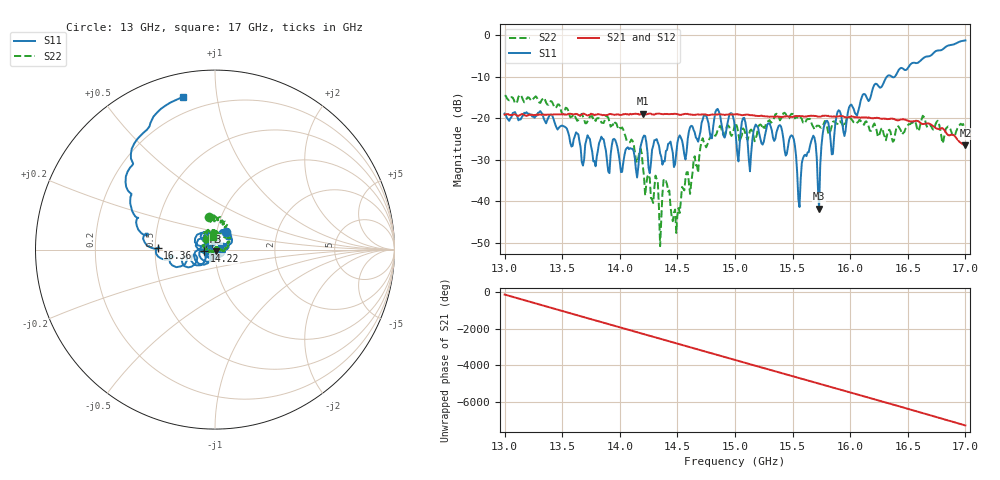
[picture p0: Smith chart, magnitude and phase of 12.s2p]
!Keysight Technologies,P9374A,MY57211807,A.19.30.04
!Date: Friday, May 01, 2026 14:43:52
!Correction: S11(C  2-Port  )
!S21(C  2-Port  )
!S12(C  2-Port  )
!S22(C  2-Port  )
!S2P File: Measurements: S11, S21, S12, S22:
# Hz S  RI  R 50
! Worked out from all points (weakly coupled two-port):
!   401 points, 13 GHz to 17 GHz, reference 50 ohm
!   highest |S21| = -18.84 dB at 14.2 GHz (marker M1); lowest = -26.5 dB at 17 GHz (marker M2)
!   lowest |S11| = -41.8 dB at 15.73 GHz (marker M3), VSWR 1.02, Z = 50.3 - j0.748 ohm
!   |S11| at or under -10 dB: start of sweep to 16.32 GHz; 16.36478 GHz to 16.38488 GHz (20.1 MHz wide, 0.123 % of centre)
!   |S22| runs from -50.8 to -14.4 dB; largest |S21 - S12| = 0.0035
!   S11 on the Smith chart (normalised r, x): 13 GHz: 1.10, +0.22; 14.22 GHz: 0.89, -0.01; 16.36 GHz: 0.52, +0.01; 17 GHz: 0.12, +0.80
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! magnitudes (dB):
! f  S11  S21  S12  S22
! 13 GHz  -18.8  -19.1  -19.1  -14.6
! 13.67 GHz  -30.6  -19.1  -19.0  -18.9
! 14.15 GHz  -34.3  -19.0  -18.9  -30.7
! 14.2 GHz  -24.7  -18.8  -18.8  -31.5
! 14.22 GHz  -24.3  -19.0  -19.0  -38.6
! 14.34 GHz  -26.6  -18.9  -18.8  -41.7
! 14.4 GHz  -27.9  -19.0  -19.0  -35.1
! 14.48 GHz  -31.1  -18.9  -18.9  -42.0
! 14.72 GHz  -20.3  -19.0  -19.0  -24.8
! 15 GHz  -22.2  -19.0  -19.0  -21.1
! 15.08 GHz  -19.9  -19.2  -19.2  -22.8
! 15.13 GHz  -32.8  -19.2  -19.2  -23.0
! 15.39 GHz  -21.6  -19.6  -19.6  -20.5
! 15.5 GHz  -24.3  -19.7  -19.6  -18.9
! 15.56 GHz  -41.4  -19.4  -19.4  -19.3
! 15.67 GHz  -24.8  -19.4  -19.4  -21.6
! 15.73 GHz  -41.8  -19.6  -19.6  -21.8
! 15.79 GHz  -20.7  -19.4  -19.3  -21.4
! 15.84 GHz  -28.7  -19.6  -19.6  -21.9
! 16.34 GHz  -9.6  -20.2  -20.1  -22.7
! 16.36 GHz  -9.9  -20.1  -20.0  -24.7
! 17 GHz  -1.2  -26.5  -26.5  -22.7
